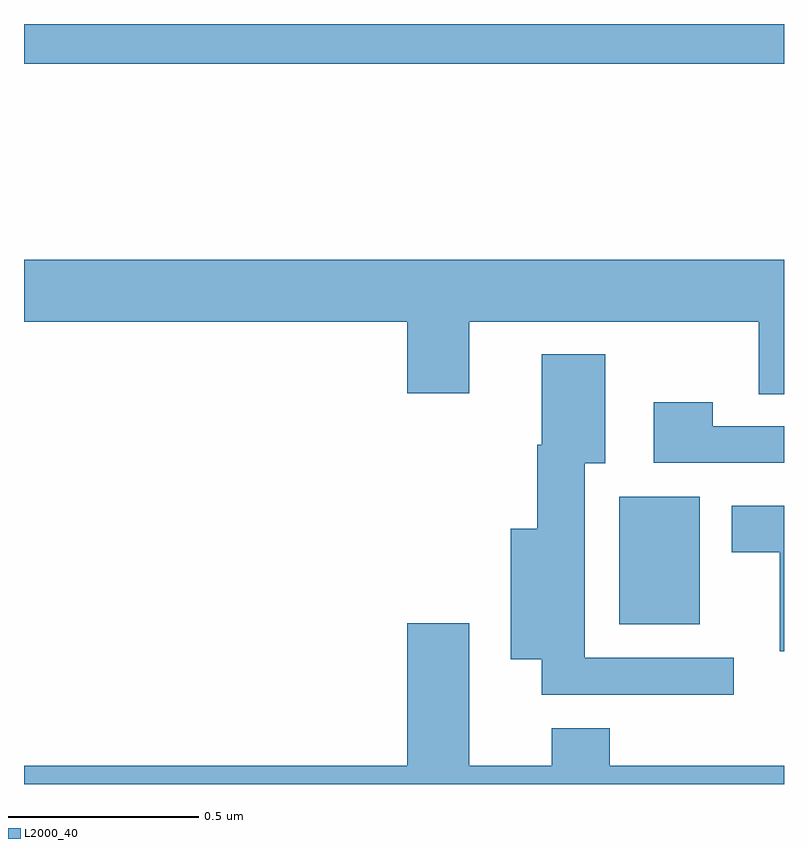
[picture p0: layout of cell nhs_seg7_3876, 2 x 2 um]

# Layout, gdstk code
import gdstk
lib = gdstk.Library(unit=1e-6, precision=1e-09)
def R(c, l, rs):  # rectangles x0, y0, x1, y1
    for r in rs: c.add(gdstk.rectangle(r[:2], r[2:], *l))
def P(c, l, *ps):  # polygons
    for p in ps: c.add(gdstk.Polygon(p, *l))
L2000_40 = (2000, 40)

nhs_seg7_3876 = lib.new_cell('nhs_seg7_3876')
R(nhs_seg7_3876, L2000_40, [(165.566,1066.421,165.778,1066.756), (164,1067.896,166,1068)])
P(nhs_seg7_3876, L2000_40, [(166,1067.38),(164,1067.38),(164,1067.216),(165.008,1067.216),(165.008,1067.028),(165.172,1067.028),(165.172,1067.216),(165.934,1067.216),(165.934,1067.026),(166,1067.026)],
  [(165.868,1066.332),(165.475,1066.332),(165.475,1066.844),(165.529,1066.844),(165.529,1067.131),(165.362,1067.131),(165.362,1066.893),(165.35,1066.893),(165.35,1066.672),(165.281,1066.672),(165.281,1066.328),(165.362,1066.328),(165.362,1066.235),(165.868,1066.235)],
  [(166,1066.941),(165.813,1066.941),(165.813,1067.005),(165.657,1067.005),(165.657,1066.845),(166,1066.845)],
  [(166,1066.732),(165.863,1066.732),(165.863,1066.61),(165.989,1066.61),(165.989,1066.349),(166,1066.349)],
  [(166,1066.048),(165.542,1066.048),(165.542,1066.147),(165.389,1066.147),(165.389,1066.048),(165.172,1066.048),(165.172,1066.423),(165.008,1066.423),(165.008,1066.048),(164,1066.048),(164,1066),(166,1066)])

lib.write_gds('nhs_seg7_3876.gds')
